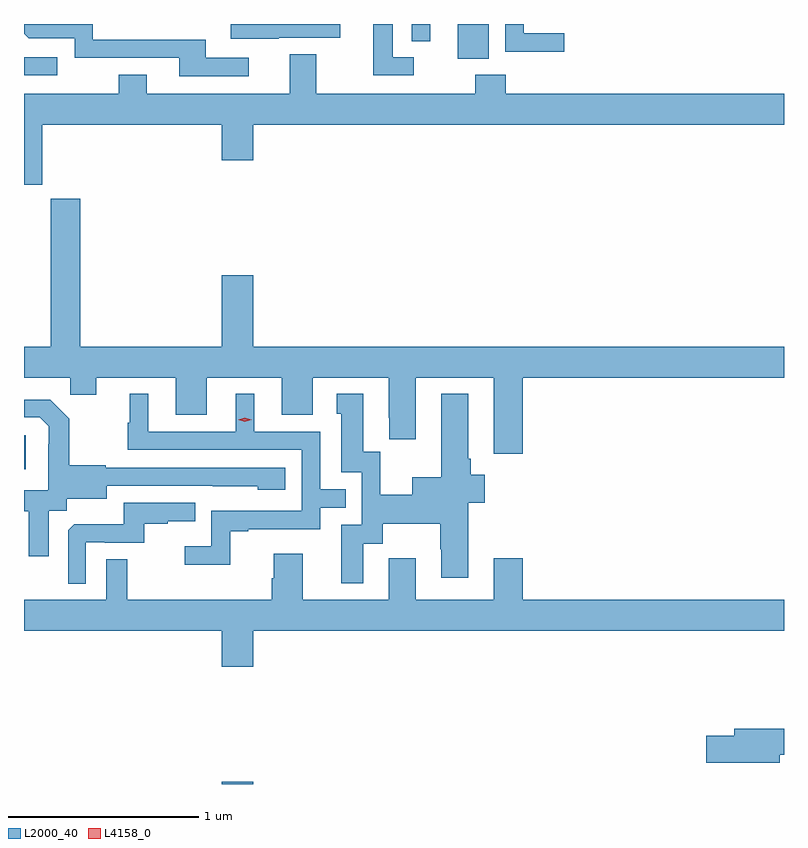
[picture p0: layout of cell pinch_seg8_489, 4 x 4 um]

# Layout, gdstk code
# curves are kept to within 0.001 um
import gdstk
lib = gdstk.Library(unit=1e-6, precision=1e-09)
def R(c, l, rs):  # rectangles x0, y0, x1, y1
    for r in rs: c.add(gdstk.rectangle(r[:2], r[2:], *l))
def P(c, l, *ps):  # polygons
    for p in ps: c.add(gdstk.Polygon(p, *l))
L2000_40 = (2000, 40)
L4158_0 = (4158, 0)

pinch_seg8_489 = lib.new_cell('pinch_seg8_489')
R(pinch_seg8_489, L2000_40, [(236.936,1125.018,237.1,1125.031), (235.894,1126.674,235.903,1126.854), (235.894,1128.747,236.068,1128.843), (238.178,1128.836,238.339,1129.018), (237.936,1128.928,238.033,1129.018)])
P(pinch_seg8_489, L2000_40, [(237.076,1128.84),(236.851,1128.84),(236.851,1128.936),(236.256,1128.936),(236.256,1129.018),(235.894,1129.018),(235.894,1128.968),(235.92,1128.942),(236.16,1128.942),(236.16,1128.84),(236.711,1128.84),(236.711,1128.744),(237.076,1128.744)],
  [(237.946,1128.843),(237.835,1128.843),(237.835,1129.018),(237.731,1129.018),(237.731,1128.747),(237.946,1128.747)],
  [(238.738,1128.969),(238.524,1128.969),(238.524,1129.018),(238.428,1129.018),(238.428,1128.871),(238.738,1128.871)],
  [(237.235,1128.945),(237.559,1128.945),(237.559,1129.018),(236.981,1129.018),(236.981,1128.941),(237.235,1128.941)],
  [(235.99,1128.488),(236.936,1128.488),(236.936,1128.3),(237.1,1128.3),(237.1,1128.488),(239.894,1128.488),(239.894,1128.652),(238.43,1128.652),(238.43,1128.751),(238.27,1128.751),(238.27,1128.652),(237.433,1128.652),(237.433,1128.86),(237.293,1128.86),(237.293,1128.652),(236.539,1128.652),(236.539,1128.751),(236.392,1128.751),(236.392,1128.652),(235.894,1128.652),(235.894,1128.171),(235.99,1128.171)],
  [(238.52,1127.156),(239.894,1127.156),(239.894,1127.32),(237.1,1127.32),(237.1,1127.695),(236.936,1127.695),(236.936,1127.32),(236.189,1127.32),(236.189,1128.099),(236.036,1128.099),(236.036,1127.32),(235.894,1127.32),(235.894,1127.156),(236.137,1127.156),(236.137,1127.066),(236.275,1127.066),(236.275,1127.156),(236.693,1127.156),(236.693,1126.962),(236.857,1126.962),(236.857,1127.156),(237.251,1127.156),(237.251,1126.962),(237.415,1126.962),(237.415,1127.156),(237.815,1127.156),(237.815,1126.945),(237.816,1126.945),(237.816,1126.833),(237.955,1126.833),(237.955,1127.156),(238.367,1127.156),(238.367,1126.755),(238.52,1126.755)],
  [(236.979,1126.347),(237.073,1126.347),(237.073,1126.359),(237.453,1126.359),(237.453,1126.473),(237.587,1126.473),(237.587,1126.569),(237.453,1126.569),(237.453,1126.872),(237.106,1126.872),(237.106,1127.071),(237.008,1127.071),(237.008,1126.872),(236.548,1126.872),(236.548,1127.071),(236.45,1127.071),(236.45,1126.92),(236.439,1126.92),(236.439,1126.776),(237.357,1126.776),(237.357,1126.455),(236.88,1126.455),(236.88,1126.27),(236.739,1126.27),(236.739,1126.172),(236.979,1126.172)],
  [(237.679,1126.282),(237.781,1126.282),(237.781,1126.388),(238.084,1126.388),(238.084,1126.254),(238.091,1126.254),(238.091,1126.104),(238.231,1126.104),(238.231,1126.499),(238.318,1126.499),(238.318,1126.646),(238.244,1126.646),(238.244,1126.729),(238.231,1126.729),(238.231,1127.071),(238.091,1127.071),(238.091,1126.633),(237.938,1126.633),(237.938,1126.54),(237.768,1126.54),(237.768,1126.767),(237.679,1126.767),(237.679,1127.071),(237.539,1127.071),(237.539,1126.968),(237.563,1126.968),(237.563,1126.659),(237.672,1126.659),(237.672,1126.383),(237.563,1126.383),(237.563,1126.074),(237.679,1126.074)],
  [(236.023,1126.456),(236.118,1126.456),(236.118,1126.52),(236.329,1126.52),(236.329,1126.587),(237.123,1126.586),(237.123,1126.568),(237.268,1126.568),(237.268,1126.683),(236.325,1126.683),(236.325,1126.696),(236.133,1126.696),(236.133,1126.941),(236.033,1127.041),(235.894,1127.041),(235.894,1126.947),(235.977,1126.947),(236.024,1126.9),(236.024,1126.805),(236.022,1126.805),(236.022,1126.564),(235.894,1126.564),(235.894,1126.454),(235.919,1126.454),(235.919,1126.218),(236.023,1126.218)],
  [(236.22,1126.29),(236.32,1126.29),(236.32,1126.287),(236.528,1126.287),(236.528,1126.389),(236.651,1126.389),(236.651,1126.4),(236.795,1126.4),(236.795,1126.497),(236.418,1126.497),(236.418,1126.385),(236.159,1126.385),(236.127,1126.353),(236.127,1126.073),(236.22,1126.073)],
  [(237.1,1125.824),(239.894,1125.824),(239.894,1125.988),(238.52,1125.988),(238.52,1126.207),(238.367,1126.207),(238.367,1125.988),(237.955,1125.988),(237.955,1126.207),(237.815,1126.207),(237.815,1125.988),(237.361,1125.988),(237.361,1126.231),(237.209,1126.231),(237.209,1126.101),(237.197,1126.101),(237.197,1125.988),(236.437,1125.988),(236.437,1126.202),(236.328,1126.202),(236.328,1125.988),(235.894,1125.988),(235.894,1125.824),(236.936,1125.824),(236.936,1125.636),(237.1,1125.636)],
  [(239.872,1125.172),(239.894,1125.172),(239.894,1125.308),(239.633,1125.308),(239.633,1125.272),(239.484,1125.272),(239.484,1125.13),(239.872,1125.13)])
P(pinch_seg8_489, L4158_0, [(237.057,1126.925),(237.021,1126.934),(237.021,1126.934),(237.021,1126.935),(237.057,1126.945),(237.093,1126.936),(237.093,1126.936),(237.093,1126.936)])

lib.write_gds('pinch_seg8_489.gds')
